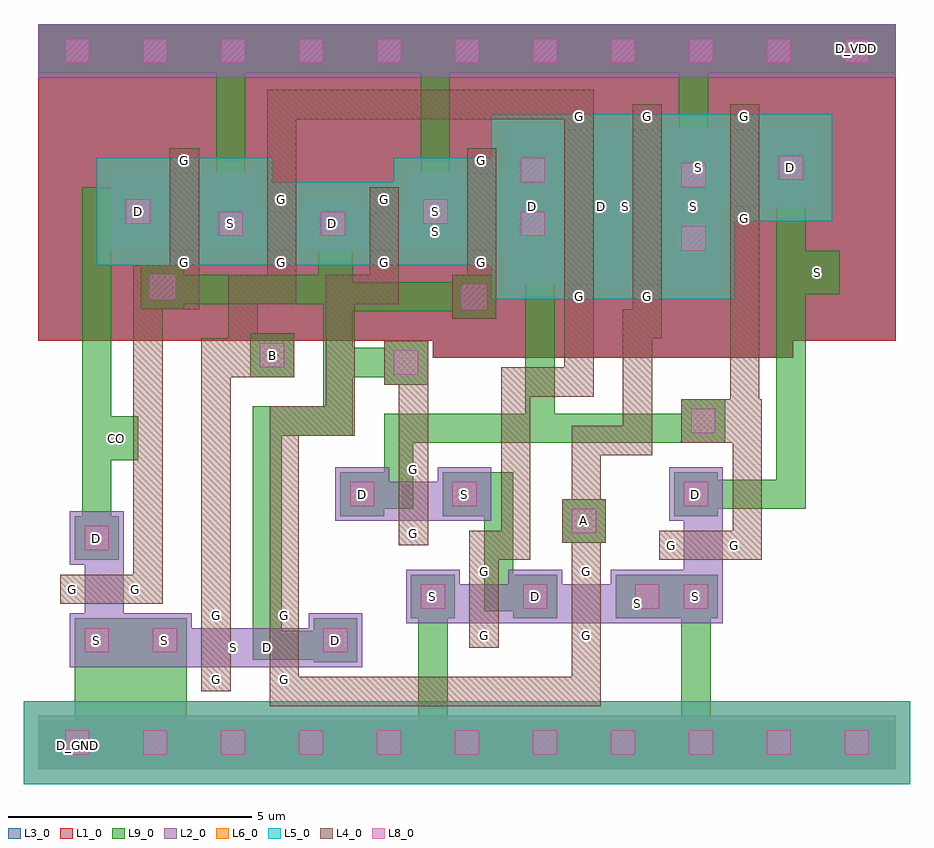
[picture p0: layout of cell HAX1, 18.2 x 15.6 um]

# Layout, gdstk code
import gdstk
lib = gdstk.Library(unit=1e-6, precision=1e-09)
def R(c, l, rs):  # rectangles x0, y0, x1, y1
    for r in rs: c.add(gdstk.rectangle(r[:2], r[2:], *l))
def A(c, l, x, y, w, h, nx, ny, dx, dy):  # array of equal rectangles
    R(c, l, [(x+i*dx, y+j*dy, x+i*dx+w, y+j*dy+h) for i in range(nx) for j in range(ny)])
def P(c, l, *ps):  # polygons
    for p in ps: c.add(gdstk.Polygon(p, *l))
L1_0 = (1, 0)
L2_0 = (2, 0)
L3_0 = (3, 0)
L4_0 = (4, 0)
L5_0 = (5, 0)
L6_0 = (6, 0)
L8_0 = (8, 0)
L9_0 = (9, 0)

hax1 = lib.new_cell('HAX1')
R(hax1, L1_0, [(8.1,8.45,14.1,14.65), (9.5,8.45,15.5,14.65), (0,8.8,17.6,15.3), (0,9.15,6,13.75), (1.9,9.15,8.1,13.25), (4,9.15,10.2,13.25), (6.1,9.15,12.1,13.75), (11.5,10.05,17.5,14.65)])
R(hax1, L2_0, [(0,0,17.6,1.1), (0.65,2.1,1.75,3.2), (1.75,2.1,2.05,3.2), (2.05,2.1,3.15,3.2), (3.15,2.1,4.15,2.9), (3.45,2.1,4.55,2.9), (4.15,2.1,5.25,2.9), (4.55,2.1,5.55,2.9), (5.55,2.1,6.65,3.2), (7.55,3,8.65,4.1), (8.65,3,9.65,3.8), (9.65,3,10.75,4.1), (9.65,3,10.75,4.1), (10.75,3,11.75,3.8), (11.75,3,12.85,3.8), (12.7,3,13.05,3.8), (12.95,3,14.05,4.1), (0.95,3.2,1.75,4.2), (11.75,3.8,12.95,4.1), (13.25,4.1,14.05,5.1), (0.65,4.2,1.75,5.3), (6.1,5.1,7.2,6.2), (7.2,5.1,8.2,5.9), (8.2,5.1,9.3,6.2), (12.95,5.1,14.05,6.2), (9.6,9.95,10.7,13.15), (10.7,9.95,11.5,13.15), (11,9.95,12.1,13.15), (11.5,9.95,12.6,13.15), (12.1,9.95,12.9,13.15), (12.9,9.95,14,13.15), (1.5,10.65,2.6,12.25), (2.6,10.65,3.4,12.25), (3.4,10.65,4.5,11.75), (3.4,10.65,4.5,12.25), (4.5,10.65,5.5,11.45), (5.5,10.65,6.6,11.75), (5.5,10.65,6.6,11.75), (6.6,10.65,7.6,11.45), (7.6,10.65,8.7,11.45), (7.6,10.65,8.7,12.25), (8.7,10.65,9.5,12.25), (9.5,10.65,10.6,12.25), (13,11.55,14.1,13.15), (14.1,11.55,14.9,13.15), (14.9,11.55,16,13.15), (0,14.2,17.6,15.3)])
R(hax1, L3_0, [(8.1,8.45,14.1,14.65), (9.5,8.45,15.5,14.65), (0,8.8,17.6,15.3), (0,9.15,6,13.75), (1.9,9.15,8.1,13.25), (4,9.15,10.2,13.25), (6.1,9.15,12.1,13.75), (11.5,10.05,17.5,14.65)])
R(hax1, L4_0, [(3.35,1.6,3.95,2.1), (3.35,1.6,3.95,3.4), (4.75,1.6,5.35,2.1), (4.75,1.6,5.35,3.4), (8.85,2.5,9.45,3), (8.85,2.5,9.45,4.3), (10.95,2.5,11.55,3), (10.95,2.5,11.55,4.3), (3.35,2.9,3.95,3.4), (4.75,2.9,5.35,3.4), (0.45,3.4,2.25,4), (0.45,3.4,0.95,4), (1.75,3.4,2.25,4), (1.95,3.4,2.55,5.7), (8.85,3.8,9.45,4.3), (10.95,3.8,11.55,4.3), (10.95,4,11.55,7.05), (12.75,4.3,14.55,4.9), (12.75,4.3,13.25,4.9), (14.05,4.3,14.55,4.9), (7.4,4.6,8,5.1), (7.4,4.6,8,6.4), (10.75,4.65,11.65,5.55), (7.4,5.9,8,6.4), (7.4,6.15,8,8.2), (10.95,6.45,12.6,7.05), (13.2,6.7,14.1,7.6), (13.8,6.7,14.45,7), (14.2,6.7,14.8,11.35), (12,6.8,12.6,8.15), (7.1,7.9,8,8.8), (3.85,8.05,4.35,8.3), (4.35,8.05,5.25,8.95), (8.5,9.25,9.4,10.15), (8.8,9.35,9.4,10.35), (2.1,9.45,3,10.35), (2.7,9.45,3.3,10.15), (10.8,9.45,11.4,13.65), (10.8,9.45,11.4,9.95), (12.2,9.45,12.8,13.65), (12.2,9.45,12.8,9.95), (2.7,10.15,3.3,10.65), (2.7,10.15,3.3,12.75), (4.7,10.15,5.3,10.65), (4.7,10.15,5.3,11.95), (6.8,10.15,7.4,10.65), (6.8,10.15,7.4,11.95), (8.8,10.15,9.4,10.65), (8.8,10.15,9.4,12.75), (14.2,11.05,14.8,11.55), (14.2,11.05,14.8,13.65), (4.7,11.45,5.3,11.95), (6.8,11.45,7.4,11.95), (2.7,12.25,3.3,12.75), (8.8,12.25,9.4,12.75), (10.8,13.15,11.4,13.65), (12.2,13.15,12.8,13.65), (14.2,13.15,14.8,13.65)])
P(hax1, L4_0, [(13.5,4.3),(14.85,4.3),(14.85,6.15),(14.25,6.15),(14.25,4.9),(13.5,4.9)],
  [(3.9,9.55),(5.3,9.55),(5.3,10.75),(4.7,10.75),(4.7,10.15),(3.9,10.15)],
  [(3.35,2.9),(3.95,2.9),(3.95,8.25),(4.5,8.25),(4.5,9.55),(5.3,9.55),(5.3,10.15),(3.9,10.15),(3.9,8.85),(3.35,8.85)],
  [(5.6,1.3),(11.55,1.3),(11.55,3.05),(10.95,3.05),(10.95,1.9),(5.6,1.9)],
  [(5.9,9.55),(7.4,9.55),(7.4,10.35),(6.8,10.35),(6.8,10.15),(5.9,10.15)],
  [(4.75,2.95),(5.35,2.95),(5.35,6.85),(6.5,6.85),(6.5,9.9),(5.9,9.9),(5.9,7.45),(4.75,7.45)],
  [(8.85,4.2),(9.45,4.2),(9.45,4.3),(10.1,4.3),(10.1,7.65),(11.4,7.65),(11.4,9.85),(10.8,9.85),(10.8,8.25),(9.5,8.25),(9.5,4.9),(8.85,4.9)],
  [(12,8.05),(12.6,8.05),(12.6,8.85),(12.8,8.85),(12.8,9.75),(12.2,9.75),(12.2,9.45),(12,9.45)],
  [(13.8,7),(14.25,7),(14.25,6.1),(14.85,6.1),(14.85,7.6),(13.8,7.6)],
  [(4.75,1.3),(5.9,1.3),(5.9,1.9),(5.35,1.9),(5.35,2.4),(4.75,2.4)],
  [(1.95,5),(2.55,5),(2.55,9.75),(2.7,9.75),(2.7,10.35),(1.95,10.35)],
  [(4.7,10.75),(5.3,10.75),(5.3,13.35),(11.4,13.35),(11.4,13.95),(4.7,13.95)])
R(hax1, L5_0, [(-0.3,-0.3,17.9,1.4), (9.3,9.65,12.9,13.45), (10.7,9.65,14.3,13.45), (1.2,10.35,4.8,12.55), (3.1,10.35,6.9,12.05), (5.2,10.35,9,12.05), (7.3,10.35,10.9,12.55), (12.7,11.25,16.3,13.45)])
R(hax1, L6_0, [(-0.3,-0.3,17.9,1.4), (9.3,9.65,12.9,13.45), (10.7,9.65,14.3,13.45), (1.2,10.35,4.8,12.55), (3.1,10.35,6.9,12.05), (5.2,10.35,9,12.05), (7.3,10.35,10.9,12.55), (12.7,11.25,16.3,13.45)])
A(hax1, L8_0, 0.55, 0.3, 0.5, 0.5, 11, 2, 1.6, 14.2)
R(hax1, L8_0, [(0.95,2.4,1.45,2.9), (2.35,2.4,2.85,2.9), (5.85,2.4,6.35,2.9), (7.85,3.3,8.35,3.8), (9.95,3.3,10.45,3.8), (9.95,3.3,10.45,3.8), (12.25,3.3,12.75,3.8), (13.25,3.3,13.75,3.8), (0.95,4.5,1.45,5), (10.95,4.85,11.45,5.35), (6.4,5.4,6.9,5.9), (8.5,5.4,9,5.9), (13.25,5.4,13.75,5.9), (13.4,6.9,13.9,7.4), (7.3,8.1,7.8,8.6), (4.55,8.25,5.05,8.75), (8.7,9.45,9.2,9.95), (2.3,9.65,2.8,10.15), (13.2,10.65,13.7,11.15), (3.7,10.95,4.2,11.45), (5.8,10.95,6.3,11.45), (5.8,10.95,6.3,11.45), (9.9,10.95,10.4,11.45), (1.8,11.2,2.3,11.7), (7.9,11.2,8.4,11.7), (13.2,11.95,13.7,12.45), (9.9,12.05,10.4,12.55), (15.2,12.1,15.7,12.6)])
R(hax1, L9_0, [(0,0,17.6,1), (0.35,0.05,1.25,0.95), (13.2,0.2,13.8,3.85), (7.8,0.25,8.4,3.85), (0.75,0.8,3.05,2.35), (0.75,2.2,1.65,3.1), (1.4,2.2,2.35,3.1), (2.15,2.2,3.05,3.1), (5.65,2.2,6.55,3.1), (7.65,3.1,8.55,4), (9.75,3.1,10.65,4), (9.75,3.1,10.65,4), (11.85,3.1,13.05,4), (13.05,3.1,13.95,4), (0.75,4.3,1.65,5.2), (0.9,4.35,1.5,11.95), (10.75,4.65,11.65,5.55), (10.75,4.65,11.65,5.55), (6.2,5.2,7.1,6.1), (8.3,5.2,9.2,6.1), (13.05,5.2,13.95,6.1), (13.2,5.35,15.75,5.95), (15.15,5.35,15.75,12.65), (1.15,6.35,2.05,7.25), (1.15,6.35,2.05,7.25), (7.1,6.7,8.95,7.3), (10,6.7,14.1,7.3), (13.2,6.7,14.1,7.6), (7.1,7.9,8,8.8), (4.35,8.05,5.25,8.95), (4.35,8.05,5.25,8.95), (5.9,8.05,7.85,8.65), (10,8.65,10.6,11.25), (8.5,9.25,9.4,10.15), (5.85,9.4,9.25,10), (2.1,9.45,3,10.35), (15.55,9.75,16.45,10.65), (15.55,9.75,16.45,10.65), (13,10.45,13.9,12.65), (10,10.65,10.6,11.95), (3.5,10.75,4.4,11.65), (5.6,10.75,6.5,11.65), (5.6,10.75,6.5,11.65), (9.7,10.75,10.6,13.1), (3.65,10.9,4.25,15.05), (0.9,10.95,1.95,11.95), (1.6,10.95,2.5,11.95), (7.7,10.95,8.6,11.95), (7.85,11.15,8.45,15.05), (15,11.85,15.9,12.85), (13.15,11.9,13.75,15.05), (0,14.3,17.6,15.3), (16.35,14.35,17.25,15.25)])
P(hax1, L9_0, [(4.4,2.25),(6.4,2.25),(6.4,2.85),(5,2.85),(5,6.85),(6.45,6.85),(6.45,11.65),(5.85,11.65),(5.85,7.45),(4.4,7.45)],
  [(6.35,5.35),(7.7,5.35),(7.7,6.95),(7.1,6.95),(7.1,5.95),(6.35,5.95)],
  [(8.3,6.7),(10.6,6.7),(10.6,9),(10,9),(10,7.3),(8.3,7.3)],
  [(2.2,9.55),(6.35,9.55),(6.35,11.45),(5.75,11.45),(5.75,10.15),(2.2,10.15)],
  [(8.65,5.5),(9.15,5.5),(9.15,3.25),(10.5,3.25),(10.5,3.85),(9.75,3.85),(9.75,6.1),(8.65,6.1)])
hax1.add(gdstk.Label('G', (12.5,9.702), layer=4, texttype=0))
hax1.add(gdstk.Label('G', (12.5,13.402), layer=4, texttype=0))
hax1.add(gdstk.Label('S', (13.451,11.551), layer=9, texttype=0))
hax1.add(gdstk.Label('D', (11.551,11.551), layer=2, texttype=0))
hax1.add(gdstk.Label('G', (7.7,4.852), layer=4, texttype=0))
hax1.add(gdstk.Label('G', (7.7,6.152), layer=4, texttype=0))
hax1.add(gdstk.Label('S', (8.751,5.651), layer=9, texttype=0))
hax1.add(gdstk.Label('D', (6.651,5.651), layer=9, texttype=0))
hax1.add(gdstk.Label('G', (11.1,9.702), layer=4, texttype=0))
hax1.add(gdstk.Label('G', (11.1,13.402), layer=4, texttype=0))
hax1.add(gdstk.Label('S', (12.051,11.551), layer=2, texttype=0))
hax1.add(gdstk.Label('D', (10.151,11.551), layer=2, texttype=0))
hax1.add(gdstk.Label('D', (4.699,2.501), layer=2, texttype=0))
hax1.add(gdstk.Label('G', (3.65,1.852), layer=4, texttype=0))
hax1.add(gdstk.Label('G', (3.65,3.152), layer=4, texttype=0))
hax1.add(gdstk.Label('S', (2.599,2.651), layer=9, texttype=0))
hax1.add(gdstk.Label('G', (11.25,2.752), layer=4, texttype=0))
hax1.add(gdstk.Label('G', (11.25,4.052), layer=4, texttype=0))
hax1.add(gdstk.Label('S', (12.301,3.401), layer=2, texttype=0))
hax1.add(gdstk.Label('D', (10.201,3.551), layer=9, texttype=0))
hax1.add(gdstk.Label('G', (5,10.402), layer=4, texttype=0))
hax1.add(gdstk.Label('G', (5,11.702), layer=4, texttype=0))
hax1.add(gdstk.Label('S', (3.949,11.201), layer=9, texttype=0))
hax1.add(gdstk.Label('D', (6.049,11.201), layer=9, texttype=0))
hax1.add(gdstk.Label('G', (9.1,10.402), layer=4, texttype=0))
hax1.add(gdstk.Label('G', (9.1,12.502), layer=4, texttype=0))
hax1.add(gdstk.Label('S', (8.149,11.451), layer=9, texttype=0))
hax1.add(gdstk.Label('D', (10.049,11.451), layer=2, texttype=0))
hax1.add(gdstk.Label('G', (14.298,4.6), layer=4, texttype=0))
hax1.add(gdstk.Label('G', (12.998,4.6), layer=4, texttype=0))
hax1.add(gdstk.Label('S', (13.499,3.549), layer=9, texttype=0))
hax1.add(gdstk.Label('D', (13.499,5.649), layer=9, texttype=0))
hax1.add(gdstk.Label('G', (14.5,11.302), layer=4, texttype=0))
hax1.add(gdstk.Label('G', (14.5,13.402), layer=4, texttype=0))
hax1.add(gdstk.Label('S', (13.549,12.351), layer=2, texttype=0))
hax1.add(gdstk.Label('D', (15.449,12.351), layer=9, texttype=0))
hax1.add(gdstk.Label('G', (3,10.402), layer=4, texttype=0))
hax1.add(gdstk.Label('G', (3,12.502), layer=4, texttype=0))
hax1.add(gdstk.Label('S', (3.951,11.451), layer=2, texttype=0))
hax1.add(gdstk.Label('D', (2.051,11.451), layer=9, texttype=0))
hax1.add(gdstk.Label('G', (9.15,2.752), layer=4, texttype=0))
hax1.add(gdstk.Label('G', (9.15,4.052), layer=4, texttype=0))
hax1.add(gdstk.Label('S', (8.099,3.551), layer=9, texttype=0))
hax1.add(gdstk.Label('D', (10.199,3.551), layer=9, texttype=0))
hax1.add(gdstk.Label('G', (1.998,3.7), layer=4, texttype=0))
hax1.add(gdstk.Label('G', (0.698,3.7), layer=4, texttype=0))
hax1.add(gdstk.Label('S', (1.199,2.649), layer=9, texttype=0))
hax1.add(gdstk.Label('D', (1.199,4.749), layer=9, texttype=0))
hax1.add(gdstk.Label('G', (7.1,10.402), layer=4, texttype=0))
hax1.add(gdstk.Label('G', (7.1,11.702), layer=4, texttype=0))
hax1.add(gdstk.Label('S', (8.151,11.051), layer=2, texttype=0))
hax1.add(gdstk.Label('D', (6.051,11.201), layer=9, texttype=0))
hax1.add(gdstk.Label('G', (5.05,1.852), layer=4, texttype=0))
hax1.add(gdstk.Label('G', (5.05,3.152), layer=4, texttype=0))
hax1.add(gdstk.Label('S', (3.999,2.501), layer=2, texttype=0))
hax1.add(gdstk.Label('D', (6.099,2.651), layer=9, texttype=0))
hax1.add(gdstk.Label('D_VDD', (16.8,14.8), layer=50, texttype=0))
hax1.add(gdstk.Label('S', (16,10.2), layer=50, texttype=0))
hax1.add(gdstk.Label('CO', (1.6,6.8), layer=50, texttype=0))
hax1.add(gdstk.Label('A', (11.2,5.1), layer=50, texttype=0))
hax1.add(gdstk.Label('B', (4.8,8.5), layer=50, texttype=0))
hax1.add(gdstk.Label('D_GND', (0.8,0.5), layer=50, texttype=0))

lib.write_gds('HAX1.gds')
